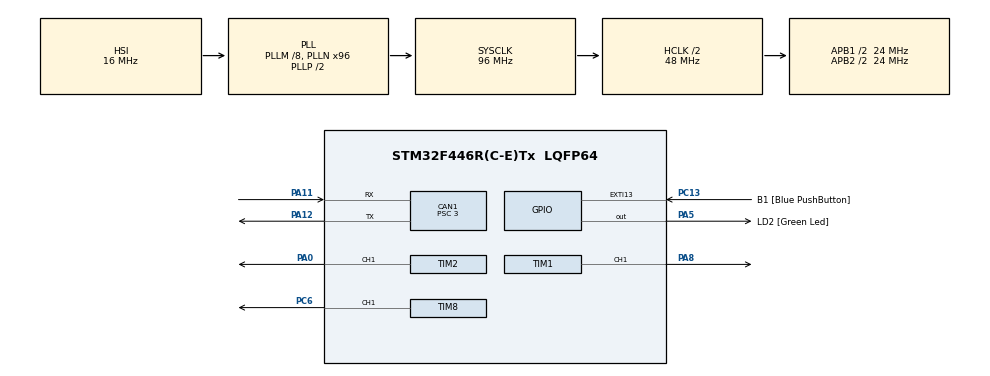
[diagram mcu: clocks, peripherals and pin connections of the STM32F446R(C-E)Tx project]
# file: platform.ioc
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CAN1.BS1=CAN_BS1_13TQ
CAN1.BS2=CAN_BS2_2TQ
CAN1.CalculateBaudRate=500000
CAN1.CalculateTimeBit=2000
CAN1.CalculateTimeQuantum=125.0
CAN1.Prescaler=3
Mcu.Family=STM32F4
Mcu.Name=STM32F446R(C-E)Tx
Mcu.Package=LQFP64
NVIC.CAN1_RX0_IRQn=true\:0\:0\:false\:false\:true\:true\:true\:true
NVIC.PriorityGroup=NVIC_PRIORITYGROUP_0
PA0-WKUP.Signal=S_TIM2_CH1_ETR
PA11.Mode=CAN_Activate
PA11.Signal=CAN1_RX
PA12.Mode=CAN_Activate
PA12.Signal=CAN1_TX
PA13.GPIO_Label=TMS
PA13.Signal=SYS_JTMS-SWDIO
PA14.GPIO_Label=TCK
PA14.Signal=SYS_JTCK-SWCLK
PA2.GPIO_Label=USART_TX
PA2.Signal=USART2_TX
PA3.GPIO_Label=USART_RX
PA3.Signal=USART2_RX
PA5.GPIO_Label=LD2 [Green Led]
PA5.Signal=GPIO_Output
PA8.Signal=S_TIM1_CH1
PB3.GPIO_Label=SWO
PB3.Signal=SYS_JTDO-SWO
PC13.GPIO_Label=B1 [Blue PushButton]
PC13.GPIO_ModeDefaultEXTI=GPIO_MODE_IT_FALLING
PC13.Signal=GPXTI13
PC14-OSC32_IN.Signal=RCC_OSC32_IN
PC15-OSC32_OUT.Signal=RCC_OSC32_OUT
PC6.Signal=S_TIM8_CH1
PH0-OSC_IN.Signal=RCC_OSC_IN
PH1-OSC_OUT.Signal=RCC_OSC_OUT
ProjectManager.HeapSize=0x200
ProjectManager.StackSize=0x400
ProjectManager.TargetToolchain=STM32CubeIDE
RCC.AHBCLKDivider=RCC_SYSCLK_DIV2
RCC.AHBFreq_Value=48000000
RCC.APB1CLKDivider=RCC_HCLK_DIV2
RCC.APB1Freq_Value=24000000
RCC.APB1TimFreq_Value=48000000
RCC.APB2CLKDivider=RCC_HCLK_DIV2
RCC.APB2Freq_Value=24000000
RCC.APB2TimFreq_Value=48000000
RCC.CortexFreq_Value=48000000
RCC.FLatency-AdvancedSettings=FLASH_LATENCY_1
RCC.HCLKFreq_Value=48000000
RCC.HSE_VALUE=8000000
RCC.HSI_VALUE=16000000
RCC.LSE_VALUE=32768
RCC.PLLM=8
RCC.PLLN=96
RCC.SYSCLKFreq_VALUE=96000000
RCC.SYSCLKSource=RCC_SYSCLKSOURCE_PLLCLK
RCC.USBFreq_Value=96000000
RCC.VCOOutputFreq_Value=192000000
SH.S_TIM1_CH1.0=TIM1_CH1,PWM Generation1 CH1
SH.S_TIM2_CH1_ETR.0=TIM2_CH1,PWM Generation1 CH1
SH.S_TIM8_CH1.0=TIM8_CH1,PWM Generation1 CH1
TIM1.AutoReloadPreload=TIM_AUTORELOAD_PRELOAD_DISABLE
TIM1.Channel-PWM\ Generation1\ CH1=TIM_CHANNEL_1
TIM1.Period=47999
TIM1.Prescaler=2
TIM2.Channel-PWM\ Generation1\ CH1=TIM_CHANNEL_1
TIM2.Period=47999
TIM2.Prescaler=2
TIM8.Channel-PWM\ Generation1\ CH1=TIM_CHANNEL_1
TIM8.Period=47999
TIM8.Prescaler=2
board=NUCLEO-F446RE

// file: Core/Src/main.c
/* USER CODE BEGIN Header */
/**
  ******************************************************************************
  * @file           : main.c
  * @brief          : Main program body
  ******************************************************************************
  * @attention
  *
  * Copyright (c) 2026 STMicroelectronics.
  * All rights reserved.
  *
  * This software is licensed under terms that can be found in the LICENSE file
  * in the root directory of this software component.
  * If no LICENSE file comes with this software, it is provided AS-IS.
  *
  ******************************************************************************
  */
/* USER CODE END Header */
#include "main.h"

/* USER CODE BEGIN Includes */
#include "can_device.h"
/* USER CODE END Includes */

/* USER CODE BEGIN PD */

// defines for linear transformation between servo angle and CCR for desired pulse width
#define MIN_ANGLE -135
#define MAX_ANGLE 135
#define MIN_CCR 8000
#define MAX_CCR 40000

#define ANGLE_INC 1

// offsets
#define LEFT_SERVO_OFFSET 0
#define RIGHT_SERVO_OFFSET 0
#define HORIZ_OFFSET 0

// ---------------- CAN message constants (can be added to form message) ----------------
// device id bits [8:5]
#define CAN_DEV_ID 0x0C0

// priority bits (first two bits of CAN ID)
#define CAN_PR_CRIT 0x000 // 0b00
#define CAN_PR_CTRL 0x200 // 0b01
#define CAN_PR_STAT 0x400 // 0b10
#define CAN_PR_DBUG 0x600 // 0b11

// message type bits (last five bits)
#define FILLER_MESSAGE 0x000 // currently no message to send back from this board to bus

// CAN receive filter IDs
#define CAN_MSG_GLOBAL_STOP 0x000
#define CAN_MSG_HEARTBEAT 0x001
#define CAN_MSG_HRZ_ANG 0x226
#define CAN_MSG_VRT_ANG 0x227

#define FILTER_LIST_LEN 4

/* USER CODE END PD */

CAN_HandleTypeDef hcan1;

TIM_HandleTypeDef htim1;
TIM_HandleTypeDef htim2;
TIM_HandleTypeDef htim8;

/* USER CODE BEGIN PV */
CANDevice_t can_dev;
uint16_t rx_id_list[] = {CAN_MSG_GLOBAL_STOP, CAN_MSG_HEARTBEAT, CAN_MSG_HRZ_ANG, CAN_MSG_VRT_ANG};

float current_hrz_angle = 0;
float current_vrt_angle = 0;
float set_angle = 0;

/* USER CODE END PV */

void SystemClock_Config(void);
static void MX_GPIO_Init(void);
static void MX_CAN1_Init(void);
static void MX_TIM1_Init(void);
static void MX_TIM8_Init(void);
static void MX_TIM2_Init(void);
/* USER CODE BEGIN PFP */
// CAN function callback plus helpers
void can_rx_callback(CANDevice_t *device);
static void proccess_can_data(uint16_t message_id, uint8_t *data);

// subsystem control functions
static void set_horizontal_angle(float angle);
static void set_vertical_angle(float angle);

// helper functions
static int linear_map(float input, float in_min, float in_max, float out_min, float out_max);

/* USER CODE END PFP */

int main(void)
{

  /* MCU Configuration--------------------------------------------------------*/

  /* Reset of all peripherals, Initializes the Flash interface and the Systick. */
  HAL_Init();

  /* Configure the system clock */
  SystemClock_Config();

  /* Initialize all configured peripherals */
  MX_GPIO_Init();
  MX_CAN1_Init();
  MX_TIM1_Init();
  MX_TIM8_Init();
  MX_TIM2_Init();
  /* USER CODE BEGIN 2 */
  // start CAN device
  device_can_init(&can_dev, &hcan1);

  // config the CAN device filter banks
  can_config_filter(&can_dev, rx_id_list, FILTER_LIST_LEN);

  // link the can rx callback
  link_rx_callback(&can_dev, can_rx_callback);

  // start the servo PWMs
  HAL_TIM_PWM_Start(&htim1, TIM_CHANNEL_1);
  HAL_TIM_PWM_Start(&htim8, TIM_CHANNEL_1);
  HAL_TIM_PWM_Start(&htim2, TIM_CHANNEL_1);

  /* USER CODE END 2 */

  /* Infinite loop */
  /* USER CODE BEGIN WHILE */
  while (1)
  {

	  set_vertical_angle(35);
	  set_horizontal_angle(15);
	  set_horizontal_angle(-15);
	  set_vertical_angle(-10);

    /* USER CODE END WHILE */

  }
}

void SystemClock_Config(void)
{
  RCC_OscInitTypeDef RCC_OscInitStruct = {0};
  RCC_ClkInitTypeDef RCC_ClkInitStruct = {0};

  /** Configure the main internal regulator output voltage
  */
  __HAL_RCC_PWR_CLK_ENABLE();
  __HAL_PWR_VOLTAGESCALING_CONFIG(PWR_REGULATOR_VOLTAGE_SCALE3);

  /** Initializes the RCC Oscillators according to the specified parameters
  * in the RCC_OscInitTypeDef structure.
  */
  RCC_OscInitStruct.OscillatorType = RCC_OSCILLATORTYPE_HSI;
  RCC_OscInitStruct.HSIState = RCC_HSI_ON;
  RCC_OscInitStruct.HSICalibrationValue = RCC_HSICALIBRATION_DEFAULT;
  RCC_OscInitStruct.PLL.PLLState = RCC_PLL_ON;
  RCC_OscInitStruct.PLL.PLLSource = RCC_PLLSOURCE_HSI;
  RCC_OscInitStruct.PLL.PLLM = 8;
  RCC_OscInitStruct.PLL.PLLN = 96;
  RCC_OscInitStruct.PLL.PLLP = RCC_PLLP_DIV2;
  RCC_OscInitStruct.PLL.PLLQ = 2;
  RCC_OscInitStruct.PLL.PLLR = 2;
  if (HAL_RCC_OscConfig(&RCC_OscInitStruct) != HAL_OK)
  {
    Error_Handler();
  }

  /** Initializes the CPU, AHB and APB buses clocks
  */
  RCC_ClkInitStruct.ClockType = RCC_CLOCKTYPE_HCLK|RCC_CLOCKTYPE_SYSCLK
                              |RCC_CLOCKTYPE_PCLK1|RCC_CLOCKTYPE_PCLK2;
  RCC_ClkInitStruct.SYSCLKSource = RCC_SYSCLKSOURCE_PLLCLK;
  RCC_ClkInitStruct.AHBCLKDivider = RCC_SYSCLK_DIV2;
  RCC_ClkInitStruct.APB1CLKDivider = RCC_HCLK_DIV2;
  RCC_ClkInitStruct.APB2CLKDivider = RCC_HCLK_DIV2;

  if (HAL_RCC_ClockConfig(&RCC_ClkInitStruct, FLASH_LATENCY_1) != HAL_OK)
  {
    Error_Handler();
  }
}

static void MX_CAN1_Init(void)
{

  hcan1.Instance = CAN1;
  hcan1.Init.Prescaler = 3;
  hcan1.Init.Mode = CAN_MODE_NORMAL;
  hcan1.Init.SyncJumpWidth = CAN_SJW_1TQ;
  hcan1.Init.TimeSeg1 = CAN_BS1_13TQ;
  hcan1.Init.TimeSeg2 = CAN_BS2_2TQ;
  hcan1.Init.TimeTriggeredMode = DISABLE;
  hcan1.Init.AutoBusOff = DISABLE;
  hcan1.Init.AutoWakeUp = DISABLE;
  hcan1.Init.AutoRetransmission = DISABLE;
  hcan1.Init.ReceiveFifoLocked = DISABLE;
  hcan1.Init.TransmitFifoPriority = DISABLE;
  if (HAL_CAN_Init(&hcan1) != HAL_OK)
  {
    Error_Handler();
  }

}

static void MX_TIM1_Init(void)
{

  TIM_MasterConfigTypeDef sMasterConfig = {0};
  TIM_OC_InitTypeDef sConfigOC = {0};
  TIM_BreakDeadTimeConfigTypeDef sBreakDeadTimeConfig = {0};

  htim1.Instance = TIM1;
  htim1.Init.Prescaler = 2;
  htim1.Init.CounterMode = TIM_COUNTERMODE_UP;
  htim1.Init.Period = 47999;
  htim1.Init.ClockDivision = TIM_CLOCKDIVISION_DIV1;
  htim1.Init.RepetitionCounter = 0;
  htim1.Init.AutoReloadPreload = TIM_AUTORELOAD_PRELOAD_DISABLE;
  if (HAL_TIM_PWM_Init(&htim1) != HAL_OK)
  {
    Error_Handler();
  }
  sMasterConfig.MasterOutputTrigger = TIM_TRGO_RESET;
  sMasterConfig.MasterSlaveMode = TIM_MASTERSLAVEMODE_DISABLE;
  if (HAL_TIMEx_MasterConfigSynchronization(&htim1, &sMasterConfig) != HAL_OK)
  {
    Error_Handler();
  }
  sConfigOC.OCMode = TIM_OCMODE_PWM1;
  sConfigOC.Pulse = 0;
  sConfigOC.OCPolarity = TIM_OCPOLARITY_HIGH;
  sConfigOC.OCNPolarity = TIM_OCNPOLARITY_HIGH;
  sConfigOC.OCFastMode = TIM_OCFAST_DISABLE;
  sConfigOC.OCIdleState = TIM_OCIDLESTATE_RESET;
  sConfigOC.OCNIdleState = TIM_OCNIDLESTATE_RESET;
  if (HAL_TIM_PWM_ConfigChannel(&htim1, &sConfigOC, TIM_CHANNEL_1) != HAL_OK)
  {
    Error_Handler();
  }
  sBreakDeadTimeConfig.OffStateRunMode = TIM_OSSR_DISABLE;
  sBreakDeadTimeConfig.OffStateIDLEMode = TIM_OSSI_DISABLE;
  sBreakDeadTimeConfig.LockLevel = TIM_LOCKLEVEL_OFF;
  sBreakDeadTimeConfig.DeadTime = 0;
  sBreakDeadTimeConfig.BreakState = TIM_BREAK_DISABLE;
  sBreakDeadTimeConfig.BreakPolarity = TIM_BREAKPOLARITY_HIGH;
  sBreakDeadTimeConfig.AutomaticOutput = TIM_AUTOMATICOUTPUT_DISABLE;
  if (HAL_TIMEx_ConfigBreakDeadTime(&htim1, &sBreakDeadTimeConfig) != HAL_OK)
  {
    Error_Handler();
  }
  HAL_TIM_MspPostInit(&htim1);

}

static void MX_TIM2_Init(void)
{

  TIM_MasterConfigTypeDef sMasterConfig = {0};
  TIM_OC_InitTypeDef sConfigOC = {0};

  htim2.Instance = TIM2;
  htim2.Init.Prescaler = 2;
  htim2.Init.CounterMode = TIM_COUNTERMODE_UP;
  htim2.Init.Period = 47999;
  htim2.Init.ClockDivision = TIM_CLOCKDIVISION_DIV1;
  htim2.Init.AutoReloadPreload = TIM_AUTORELOAD_PRELOAD_DISABLE;
  if (HAL_TIM_PWM_Init(&htim2) != HAL_OK)
  {
    Error_Handler();
  }
  sMasterConfig.MasterOutputTrigger = TIM_TRGO_RESET;
  sMasterConfig.MasterSlaveMode = TIM_MASTERSLAVEMODE_DISABLE;
  if (HAL_TIMEx_MasterConfigSynchronization(&htim2, &sMasterConfig) != HAL_OK)
  {
    Error_Handler();
  }
  sConfigOC.OCMode = TIM_OCMODE_PWM1;
  sConfigOC.Pulse = 0;
  sConfigOC.OCPolarity = TIM_OCPOLARITY_HIGH;
  sConfigOC.OCFastMode = TIM_OCFAST_DISABLE;
  if (HAL_TIM_PWM_ConfigChannel(&htim2, &sConfigOC, TIM_CHANNEL_1) != HAL_OK)
  {
    Error_Handler();
  }
  HAL_TIM_MspPostInit(&htim2);

}

static void MX_TIM8_Init(void)
{

  TIM_MasterConfigTypeDef sMasterConfig = {0};
  TIM_OC_InitTypeDef sConfigOC = {0};
  TIM_BreakDeadTimeConfigTypeDef sBreakDeadTimeConfig = {0};

  htim8.Instance = TIM8;
  htim8.Init.Prescaler = 2;
  htim8.Init.CounterMode = TIM_COUNTERMODE_UP;
  htim8.Init.Period = 47999;
  htim8.Init.ClockDivision = TIM_CLOCKDIVISION_DIV1;
  htim8.Init.RepetitionCounter = 0;
  htim8.Init.AutoReloadPreload = TIM_AUTORELOAD_PRELOAD_DISABLE;
  if (HAL_TIM_PWM_Init(&htim8) != HAL_OK)
  {
    Error_Handler();
  }
  sMasterConfig.MasterOutputTrigger = TIM_TRGO_RESET;
  sMasterConfig.MasterSlaveMode = TIM_MASTERSLAVEMODE_DISABLE;
  if (HAL_TIMEx_MasterConfigSynchronization(&htim8, &sMasterConfig) != HAL_OK)
  {
    Error_Handler();
  }
  sConfigOC.OCMode = TIM_OCMODE_PWM1;
  sConfigOC.Pulse = 0;
  sConfigOC.OCPolarity = TIM_OCPOLARITY_HIGH;
  sConfigOC.OCNPolarity = TIM_OCNPOLARITY_HIGH;
  sConfigOC.OCFastMode = TIM_OCFAST_DISABLE;
  sConfigOC.OCIdleState = TIM_OCIDLESTATE_RESET;
  sConfigOC.OCNIdleState = TIM_OCNIDLESTATE_RESET;
  if (HAL_TIM_PWM_ConfigChannel(&htim8, &sConfigOC, TIM_CHANNEL_1) != HAL_OK)
  {
    Error_Handler();
  }
  sBreakDeadTimeConfig.OffStateRunMode = TIM_OSSR_DISABLE;
  sBreakDeadTimeConfig.OffStateIDLEMode = TIM_OSSI_DISABLE;
  sBreakDeadTimeConfig.LockLevel = TIM_LOCKLEVEL_OFF;
  sBreakDeadTimeConfig.DeadTime = 0;
  sBreakDeadTimeConfig.BreakState = TIM_BREAK_DISABLE;
  sBreakDeadTimeConfig.BreakPolarity = TIM_BREAKPOLARITY_HIGH;
  sBreakDeadTimeConfig.AutomaticOutput = TIM_AUTOMATICOUTPUT_DISABLE;
  if (HAL_TIMEx_ConfigBreakDeadTime(&htim8, &sBreakDeadTimeConfig) != HAL_OK)
  {
    Error_Handler();
  }
  HAL_TIM_MspPostInit(&htim8);

}

static void MX_GPIO_Init(void)
{
  GPIO_InitTypeDef GPIO_InitStruct = {0};

  /* GPIO Ports Clock Enable */
  __HAL_RCC_GPIOC_CLK_ENABLE();
  __HAL_RCC_GPIOH_CLK_ENABLE();
  __HAL_RCC_GPIOA_CLK_ENABLE();
  __HAL_RCC_GPIOB_CLK_ENABLE();

  /*Configure GPIO pin Output Level */
  HAL_GPIO_WritePin(LD2_GPIO_Port, LD2_Pin, GPIO_PIN_RESET);

  /*Configure GPIO pin : B1_Pin */
  GPIO_InitStruct.Pin = B1_Pin;
  GPIO_InitStruct.Mode = GPIO_MODE_IT_FALLING;
  GPIO_InitStruct.Pull = GPIO_NOPULL;
  HAL_GPIO_Init(B1_GPIO_Port, &GPIO_InitStruct);

  /*Configure GPIO pins : USART_TX_Pin USART_RX_Pin */
  GPIO_InitStruct.Pin = USART_TX_Pin|USART_RX_Pin;
  GPIO_InitStruct.Mode = GPIO_MODE_AF_PP;
  GPIO_InitStruct.Pull = GPIO_NOPULL;
  GPIO_InitStruct.Speed = GPIO_SPEED_FREQ_VERY_HIGH;
  GPIO_InitStruct.Alternate = GPIO_AF7_USART2;
  HAL_GPIO_Init(GPIOA, &GPIO_InitStruct);

  /*Configure GPIO pin : LD2_Pin */
  GPIO_InitStruct.Pin = LD2_Pin;
  GPIO_InitStruct.Mode = GPIO_MODE_OUTPUT_PP;
  GPIO_InitStruct.Pull = GPIO_NOPULL;
  GPIO_InitStruct.Speed = GPIO_SPEED_FREQ_LOW;
  HAL_GPIO_Init(LD2_GPIO_Port, &GPIO_InitStruct);

}

/* USER CODE BEGIN 4 */
// map an input from on range to another, both ranges must be a linear scale
static int linear_map(float input, float in_min, float in_max, float out_min, float out_max) {
	float frac = (out_max - out_min) / (in_max - in_min);
	return out_min + frac * (input - in_min);
}

// set the horizontal platform angle
static void set_horizontal_angle(float angle) {
	htim1.Instance->CCR1 = linear_map(current_hrz_angle, MIN_ANGLE, MAX_ANGLE, MIN_CCR, MAX_CCR);

	float angle_diff = angle - current_hrz_angle;

	if(angle_diff >= 0.0f) {
		for(current_hrz_angle; current_hrz_angle < angle; current_hrz_angle++) {
			htim1.Instance->CCR1 = linear_map(current_hrz_angle, MIN_ANGLE, MAX_ANGLE, MIN_CCR, MAX_CCR);
			HAL_Delay(25);
		}
	} else if (angle_diff < 0.0f) {
		for(current_hrz_angle; current_hrz_angle > angle; current_hrz_angle--) {
			htim1.Instance->CCR1 = linear_map(current_hrz_angle, MIN_ANGLE, MAX_ANGLE, MIN_CCR, MAX_CCR);
			HAL_Delay(25);
		}
	}
}

// set the vertical platform angle
static void set_vertical_angle(float angle) {
	htim8.Instance->CCR1 = linear_map(-(current_vrt_angle + LEFT_SERVO_OFFSET), MIN_ANGLE, MAX_ANGLE, MIN_CCR, MAX_CCR);
	htim2.Instance->CCR1 = linear_map(current_vrt_angle + RIGHT_SERVO_OFFSET, MIN_ANGLE, MAX_ANGLE, MIN_CCR, MAX_CCR);

	float angle_diff = angle - current_vrt_angle;

	if(angle_diff >= 0.0f) {
		for(current_vrt_angle; current_vrt_angle < angle; current_vrt_angle++) {
			htim8.Instance->CCR1 = linear_map(-(current_vrt_angle + LEFT_SERVO_OFFSET), MIN_ANGLE, MAX_ANGLE, MIN_CCR, MAX_CCR);
			htim2.Instance->CCR1 = linear_map(current_vrt_angle + RIGHT_SERVO_OFFSET, MIN_ANGLE, MAX_ANGLE, MIN_CCR, MAX_CCR);
			HAL_Delay(25);
		}
	} else if (angle_diff < 0.0f) {
		for(current_vrt_angle; current_vrt_angle > angle; current_vrt_angle--) {
			htim8.Instance->CCR1 = linear_map(-(current_vrt_angle + LEFT_SERVO_OFFSET), MIN_ANGLE, MAX_ANGLE, MIN_CCR, MAX_CCR);
			htim2.Instance->CCR1 = linear_map(current_vrt_angle + RIGHT_SERVO_OFFSET, MIN_ANGLE, MAX_ANGLE, MIN_CCR, MAX_CCR);
			HAL_Delay(25);
		}
	}

}

// callback for receiving CAN data
void can_rx_callback(CANDevice_t *device) {
	if (device->msgReceived) {
		// Only pull data if we actually have a new message
		uint8_t *rx_data = device->rxBuffer;
		uint16_t message_id = device->rxHeader.StdId;

		proccess_can_data(message_id, rx_data);

		device->msgReceived = false;
	}
}

// proccess the can data based on the message ID (little endian data protocol)
static void proccess_can_data(uint16_t message_id, uint8_t *data) {
    float received_val;

    // Copy the 4 bytes back into a float variable
    memcpy(&received_val, data, sizeof(float));

    switch (message_id) {
        case CAN_MSG_HRZ_ANG:
            set_horizontal_angle(received_val);
            break;
        case CAN_MSG_VRT_ANG:
            set_vertical_angle(received_val);
            break;
    }
}
/* USER CODE END 4 */

void Error_Handler(void)
{
  __disable_irq();
  while (1)
  {
  }
}
